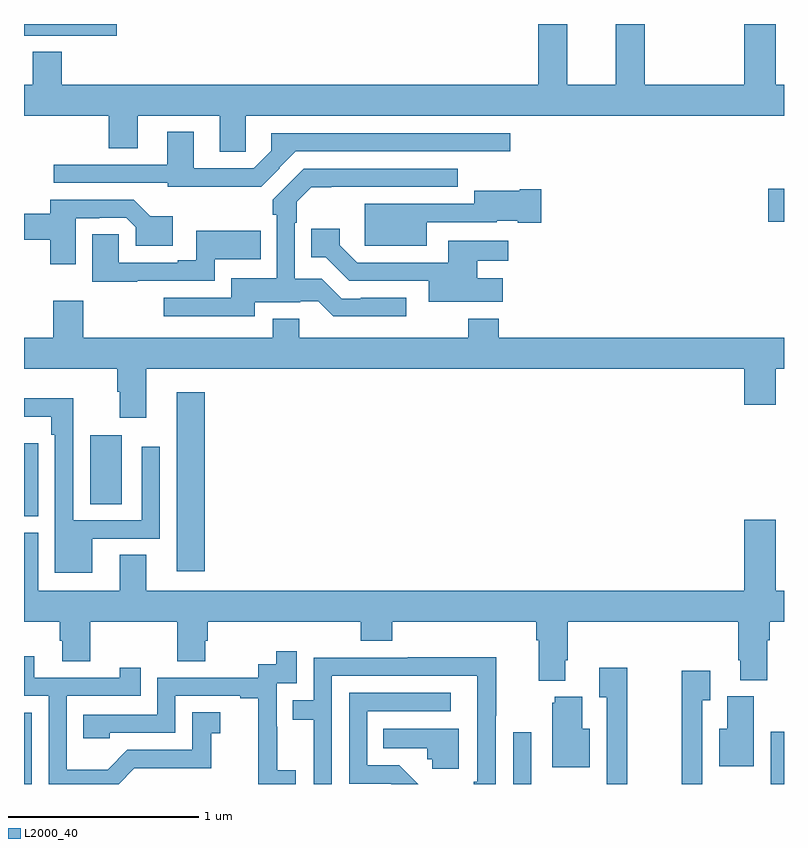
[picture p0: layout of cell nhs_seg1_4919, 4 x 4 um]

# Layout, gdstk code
import gdstk
lib = gdstk.Library(unit=1e-6, precision=1e-09)
def R(c, l, rs):  # rectangles x0, y0, x1, y1
    for r in rs: c.add(gdstk.rectangle(r[:2], r[2:], *l))
def P(c, l, *ps):  # polygons
    for p in ps: c.add(gdstk.Polygon(p, *l))
L2000_40 = (2000, 40)

nhs_seg1_4919 = lib.new_cell('nhs_seg1_4919')
R(nhs_seg1_4919, L2000_40, [(377,564.199,377.04,564.573), (379.575,564.199,379.671,564.472), (380.931,564.199,381,564.475), (377.804,565.32,377.951,566.26), (377,565.607,377.074,565.993), (377.348,565.672,377.515,566.035), (380.916,567.159,381,567.331), (377,568.137,377.488,568.199)])
P(nhs_seg1_4919, L2000_40, [(378.168,567.716),(381,567.716),(381,567.88),(380.956,567.88),(380.956,568.199),(380.792,568.199),(380.792,567.88),(380.267,567.88),(380.267,568.199),(380.114,568.199),(380.114,567.88),(379.858,567.88),(379.858,568.199),(379.706,568.199),(379.706,567.88),(377.198,567.88),(377.198,568.052),(377.045,568.052),(377.045,567.88),(377,567.88),(377,567.716),(377.447,567.716),(377.447,567.544),(377.599,567.544),(377.599,567.716),(378.029,567.716),(378.029,567.526),(378.168,567.526)],
  [(378.347,567.44),(378.344,567.443),(378.429,567.528),(379.558,567.528),(379.558,567.624),(378.301,567.624),(378.301,567.532),(378.21,567.441),(377.893,567.441),(377.893,567.631),(377.753,567.631),(377.753,567.459),(377.157,567.459),(377.157,567.363),(377.757,567.363),(377.757,567.343),(378.249,567.343)],
  [(379.012,566.757),(378.772,566.757),(378.772,566.754),(378.672,566.754),(378.567,566.859),(378.426,566.859),(378.426,567.152),(378.436,567.152),(378.436,567.264),(378.512,567.34),(378.616,567.34),(378.616,567.342),(379.282,567.342),(379.282,567.438),(378.473,567.438),(378.31,567.275),(378.31,567.194),(378.33,567.194),(378.33,566.86),(378.092,566.86),(378.092,566.757),(377.736,566.757),(377.736,566.661),(378.214,566.661),(378.214,566.735),(378.455,566.735),(378.455,566.739),(378.549,566.739),(378.628,566.66),(379.012,566.66)],
  [(379.12,567.156),(379.488,567.156),(379.488,567.164),(379.599,567.164),(379.599,567.152),(379.723,567.152),(379.723,567.33),(379.61,567.33),(379.61,567.322),(379.37,567.322),(379.37,567.252),(379.016,567.252),(379.016,567.253),(378.794,567.253),(378.794,567.032),(379.12,567.032)],
  [(377.272,567.177),(377.396,567.177),(377.396,567.18),(377.538,567.18),(377.589,567.129),(377.589,567.032),(377.782,567.032),(377.782,567.187),(377.664,567.187),(377.578,567.273),(377.138,567.273),(377.138,567.2),(377,567.2),(377,567.064),(377.138,567.064),(377.138,566.934),(377.272,566.934)],
  [(379.519,566.86),(379.385,566.86),(379.385,566.954),(379.549,566.954),(379.549,567.058),(379.232,567.058),(379.232,566.943),(378.753,566.943),(378.661,567.035),(378.661,567.121),(378.511,567.121),(378.511,566.972),(378.588,566.972),(378.713,566.847),(379.13,566.847),(379.13,566.738),(379.519,566.738)],
  [(377.596,566.847),(378.003,566.847),(378.003,566.96),(378.245,566.96),(378.245,567.112),(377.907,567.112),(377.907,566.956),(377.81,566.956),(377.81,566.943),(377.499,566.943),(377.499,567.092),(377.36,567.092),(377.36,566.842),(377.596,566.842)],
  [(377.644,566.384),(380.792,566.384),(380.792,566.196),(380.956,566.196),(380.956,566.384),(381,566.384),(381,566.548),(379.499,566.548),(379.499,566.647),(379.339,566.647),(379.339,566.548),(378.448,566.548),(378.448,566.647),(378.308,566.647),(378.308,566.548),(377.313,566.548),(377.313,566.743),(377.153,566.743),(377.153,566.548),(377,566.548),(377,566.384),(377.492,566.384),(377.492,566.264),(377.504,566.264),(377.504,566.127),(377.644,566.127)],
  [(377.359,565.491),(377.715,565.491),(377.715,565.975),(377.619,565.975),(377.619,565.587),(377.259,565.587),(377.259,566.23),(377,566.23),(377,566.132),(377.143,566.132),(377.143,566.036),(377.163,566.036),(377.163,565.31),(377.359,565.31)],
  [(379.849,564.85),(379.862,564.85),(379.862,565.052),(380.759,565.052),(380.759,564.85),(380.771,564.85),(380.771,564.745),(380.911,564.745),(380.911,564.956),(380.924,564.956),(380.924,565.052),(381,565.052),(381,565.216),(380.956,565.216),(380.956,565.591),(380.792,565.591),(380.792,565.216),(377.644,565.216),(377.644,565.406),(377.504,565.406),(377.504,565.216),(377.074,565.216),(377.074,565.522),(377,565.522),(377,565.052),(377.189,565.052),(377.189,564.954),(377.201,564.954),(377.201,564.844),(377.349,564.844),(377.349,565.052),(377.806,565.052),(377.806,564.844),(377.953,564.844),(377.953,564.954),(377.966,564.954),(377.966,565.052),(378.773,565.052),(378.773,564.953),(378.938,564.953),(378.938,565.052),(379.697,565.052),(379.697,564.956),(379.709,564.956),(379.709,564.743),(379.849,564.743)],
  [(378.43,564.271),(378.332,564.271),(378.332,564.5),(378.33,564.5),(378.33,564.729),(378.435,564.729),(378.435,564.898),(378.327,564.898),(378.327,564.828),(378.234,564.828),(378.234,564.759),(377.7,564.759),(377.7,564.564),(377.311,564.564),(377.311,564.441),(377.451,564.441),(377.451,564.468),(377.796,564.468),(377.796,564.663),(378.137,564.663),(378.137,564.651),(378.233,564.651),(378.233,564.367),(378.232,564.367),(378.232,564.199),(378.43,564.199)],
  [(377.581,564.282),(377.985,564.282),(377.985,564.467),(378.034,564.467),(378.034,564.577),(377.886,564.577),(377.886,564.378),(377.544,564.378),(377.44,564.274),(377.226,564.274),(377.226,564.663),(377.615,564.663),(377.615,564.811),(377.504,564.811),(377.504,564.759),(377.053,564.759),(377.053,564.871),(377,564.871),(377,564.663),(377.13,564.663),(377.13,564.199),(377.498,564.199)],
  [(378.621,564.768),(379.385,564.768),(379.385,564.544),(379.386,564.544),(379.386,564.21),(379.367,564.21),(379.367,564.199),(379.482,564.199),(379.482,564.559),(379.485,564.559),(379.485,564.866),(379.021,564.866),(379.021,564.864),(378.525,564.864),(378.525,564.639),(378.415,564.639),(378.415,564.538),(378.525,564.538),(378.525,564.199),(378.621,564.199)],
  [(380.176,564.811),(380.027,564.811),(380.027,564.655),(380.067,564.655),(380.067,564.199),(380.176,564.199)],
  [(380.571,564.64),(380.611,564.64),(380.611,564.796),(380.463,564.796),(380.463,564.199),(380.571,564.199)],
  [(378.976,564.297),(378.807,564.297),(378.807,564.582),(379.246,564.582),(379.246,564.678),(378.711,564.678),(378.711,564.201),(378.93,564.201),(378.932,564.199),(379.074,564.199)],
  [(380.842,564.66),(380.702,564.66),(380.702,564.49),(380.66,564.49),(380.66,564.293),(380.842,564.293)],
  [(379.978,564.49),(379.939,564.49),(379.939,564.658),(379.793,564.658),(379.793,564.627),(379.781,564.627),(379.781,564.287),(379.978,564.287)],
  [(379.288,564.49),(378.892,564.49),(378.892,564.386),(379.123,564.386),(379.123,564.33),(379.149,564.33),(379.149,564.278),(379.288,564.278)])

lib.write_gds('nhs_seg1_4919.gds')
